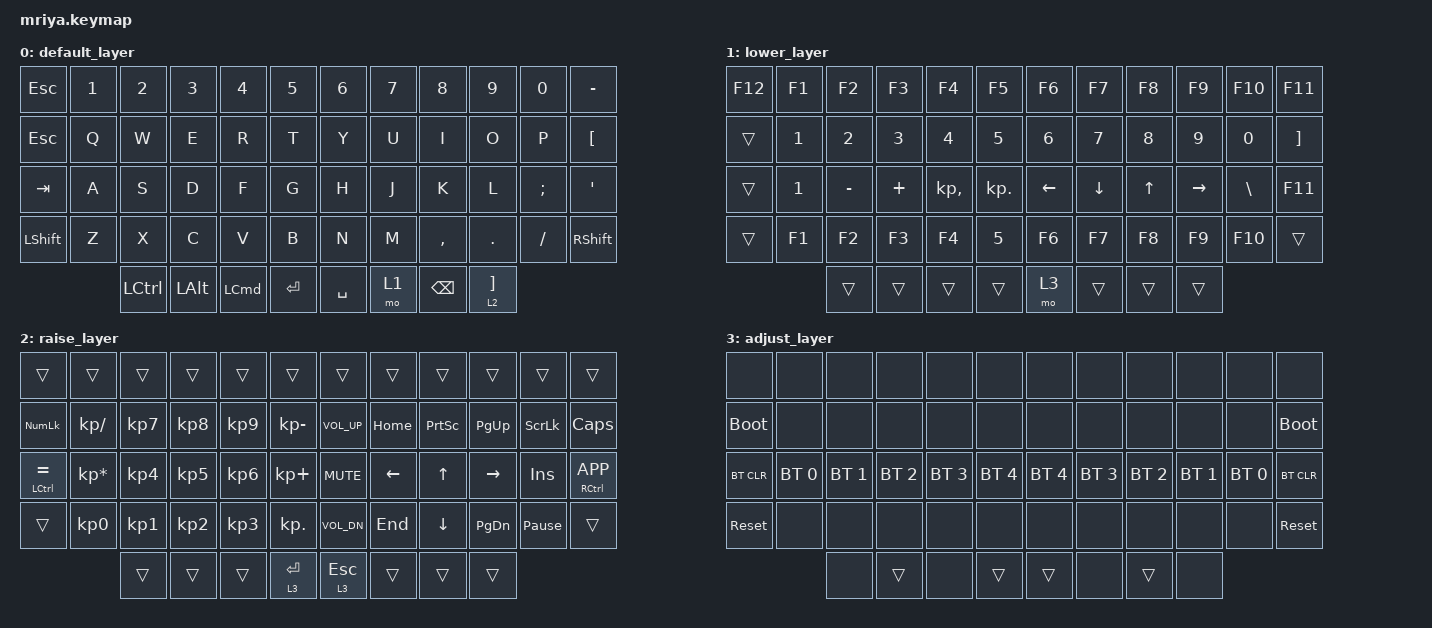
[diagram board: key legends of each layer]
/*
 * Copyright (c) 2023 Andrei Gaevskii
 *
 * SPDX-License-Identifier: MIT
 */

#include <behaviors.dtsi>
#include <dt-bindings/zmk/bt.h>
#include <dt-bindings/zmk/keys.h>

#define DEF 0
#define LWR 1
#define RSE 2
#define ADJ 3

&lt { quick_tap_ms = <200>; };

&mt { quick_tap_ms = <200>; };

/ {
    keymap {
        compatible = "zmk,keymap";

        default_layer {
            bindings = <
  &kp ESCAPE      &kp N1  &kp N2            &kp N3        &kp N4            &kp N5       &kp N6     &kp N7  &kp N8         &kp N9               &kp N0    &kp MINUS
  &kp ESCAPE      &kp Q   &kp W             &kp E         &kp R             &kp T        &kp Y      &kp U   &kp I          &kp O                &kp P     &kp LBKT
  &kp TAB         &kp A   &kp S             &kp D         &kp F             &kp G        &kp H      &kp J   &kp K          &kp L                &kp SEMI  &kp APOSTROPHE
  &kp LEFT_SHIFT  &kp Z   &kp X             &kp C         &kp V             &kp B        &kp N      &kp M   &kp COMMA      &kp DOT              &kp FSLH  &kp RIGHT_SHIFT
                          &kp LEFT_CONTROL  &kp LEFT_ALT  &kp LEFT_COMMAND  &kp ENTER    &kp SPACE  &mo 1   &kp BACKSPACE  &lt 2 RIGHT_BRACKET
            >;
        };

        lower_layer {
            bindings = <
  &kp F12  &kp F1        &kp F2        &kp F3        &kp F4        &kp F5        &kp F6        &kp F7        &kp F8  &kp F9     &kp F10        &kp F11
  &trans   &kp NUMBER_1  &kp NUMBER_2  &kp NUMBER_3  &kp NUMBER_4  &kp N5        &kp NUMBER_6  &kp NUMBER_7  &kp N8  &kp N9     &kp N0         &kp RIGHT_BRACKET
  &trans   &kp NUMBER_1  &kp MINUS     &kp PLUS      &kp KP_COMMA  &kp KP_DOT    &kp LEFT      &kp DOWN      &kp UP  &kp RIGHT  &kp BACKSLASH  &kp F11
  &trans   &kp F1        &kp F2        &kp F3        &kp F4        &kp N5        &kp F6        &kp F7        &kp F8  &kp F9     &kp F10        &trans
                         &trans        &trans        &trans        &trans        &mo 3         &trans        &trans  &trans
            >;
        };

        raise_layer {
            bindings = <
  &trans           &trans           &trans     &trans     &trans     &trans          &trans        &trans    &trans     &trans     &trans           &trans
  &kp KP_NUM       &kp KP_SLASH     &kp KP_N7  &kp KP_N8  &kp KP_N9  &kp KP_MINUS    &kp C_VOL_UP  &kp HOME  &kp PSCRN  &kp PG_UP  &kp SLCK         &kp CAPS
  &mt LCTRL EQUAL  &kp KP_MULTIPLY  &kp KP_N4  &kp KP_N5  &kp KP_N6  &kp KP_PLUS     &kp C_MUTE    &kp LEFT  &kp UP     &kp RIGHT  &kp INS          &mt RCTRL K_APP
  &trans           &kp KP_N0        &kp KP_N1  &kp KP_N2  &kp KP_N3  &kp KP_DOT      &kp C_VOL_DN  &kp END   &kp DOWN   &kp PG_DN  &kp PAUSE_BREAK  &trans
                                    &trans     &trans     &trans     &lt 3 RET       &lt 3 ESC     &trans    &trans     &trans
            >;
        };

        adjust_layer {
            bindings = <
  &none        &none         &none         &none         &none         &none           &none         &none         &none         &none         &none         &none
  &bootloader  &none         &none         &none         &none         &none           &none         &none         &none         &none         &none         &bootloader
  &bt BT_CLR   &bt BT_SEL 0  &bt BT_SEL 1  &bt BT_SEL 2  &bt BT_SEL 3  &bt BT_SEL 4    &bt BT_SEL 4  &bt BT_SEL 3  &bt BT_SEL 2  &bt BT_SEL 1  &bt BT_SEL 0  &bt BT_CLR
  &sys_reset   &none         &none         &none         &none         &none           &none         &none         &none         &none         &none         &sys_reset
                             &none         &trans        &none         &trans          &trans        &none         &trans        &none
            >;
        };
    };
};
